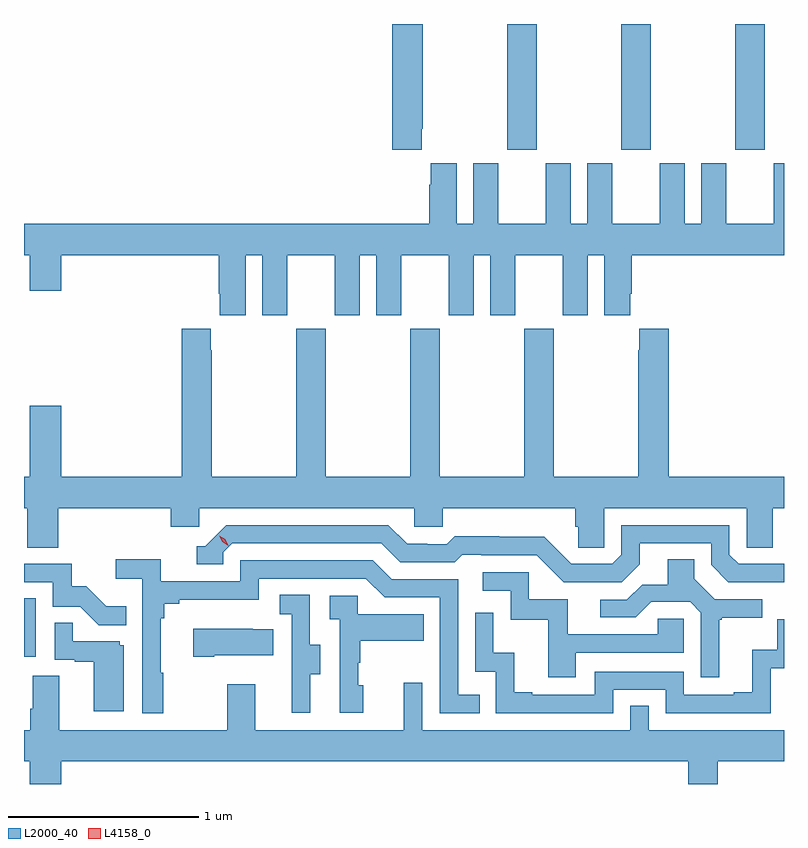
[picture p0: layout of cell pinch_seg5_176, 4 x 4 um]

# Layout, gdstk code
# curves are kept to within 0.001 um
import gdstk
lib = gdstk.Library(unit=1e-6, precision=1e-09)
def R(c, l, rs):  # rectangles x0, y0, x1, y1
    for r in rs: c.add(gdstk.rectangle(r[:2], r[2:], *l))
def A(c, l, x, y, w, h, nx, ny, dx, dy):  # array of equal rectangles
    R(c, l, [(x+i*dx, y+j*dy, x+i*dx+w, y+j*dy+h) for i in range(nx) for j in range(ny)])
def P(c, l, *ps):  # polygons
    for p in ps: c.add(gdstk.Polygon(p, *l))
L2000_40 = (2000, 40)
L4158_0 = (4158, 0)

pinch_seg5_176 = lib.new_cell('pinch_seg5_176')
A(pinch_seg5_176, L2000_40, 1144.543, 891.945, 0.155, 0.663, 3, 1, 0.6, 0)
R(pinch_seg5_176, L2000_40, [(1141.999,889.278,1142.062,889.585)])
P(pinch_seg5_176, L2000_40, [(1144.093,892.057),(1144.098,892.057),(1144.098,892.608),(1143.938,892.608),(1143.938,891.945),(1144.093,891.945)],
  [(1143.166,891.392),(1143.254,891.392),(1143.254,891.075),(1143.385,891.075),(1143.385,891.392),(1143.635,891.392),(1143.635,891.075),(1143.766,891.075),(1143.766,891.392),(1143.854,891.392),(1143.854,891.075),(1143.985,891.075),(1143.985,891.392),(1144.235,891.392),(1144.235,891.075),(1144.366,891.075),(1144.366,891.392),(1144.454,891.392),(1144.454,891.075),(1144.585,891.075),(1144.585,891.392),(1144.835,891.392),(1144.835,891.075),(1144.966,891.075),(1144.966,891.392),(1145.054,891.392),(1145.054,891.075),(1145.191,891.075),(1145.191,891.187),(1145.198,891.187),(1145.198,891.392),(1145.999,891.392),(1145.999,891.874),(1145.945,891.874),(1145.945,891.556),(1145.695,891.556),(1145.695,891.874),(1145.564,891.874),(1145.564,891.556),(1145.476,891.556),(1145.476,891.874),(1145.345,891.874),(1145.345,891.556),(1145.095,891.556),(1145.095,891.874),(1144.964,891.874),(1144.964,891.556),(1144.876,891.556),(1144.876,891.874),(1144.745,891.874),(1144.745,891.556),(1144.495,891.556),(1144.495,891.874),(1144.364,891.874),(1144.364,891.556),(1144.276,891.556),(1144.276,891.874),(1144.139,891.874),(1144.139,891.761),(1144.133,891.761),(1144.133,891.556),(1141.999,891.556),(1141.999,891.392),(1142.03,891.392),(1142.03,891.204),(1142.194,891.204),(1142.194,891.392),(1143.023,891.392),(1143.023,891.187),(1143.029,891.187),(1143.029,891.075),(1143.166,891.075)],
  [(1142.18,890.06),(1142.771,890.06),(1142.771,889.962),(1142.922,889.962),(1142.922,890.06),(1144.053,890.06),(1144.053,889.962),(1144.203,889.962),(1144.203,890.06),(1144.901,890.06),(1144.901,889.962),(1144.915,889.962),(1144.915,889.852),(1145.052,889.852),(1145.052,890.06),(1145.802,890.06),(1145.802,889.852),(1145.941,889.852),(1145.941,890.06),(1145.999,890.06),(1145.999,890.224),(1145.393,890.224),(1145.393,891.004),(1145.237,891.004),(1145.237,890.891),(1145.233,890.891),(1145.233,890.224),(1144.788,890.224),(1144.788,891.004),(1144.633,891.004),(1144.633,890.224),(1144.188,890.224),(1144.188,891.004),(1144.033,891.004),(1144.033,890.224),(1143.588,890.224),(1143.588,891.004),(1143.433,891.004),(1143.433,890.224),(1142.988,890.224),(1142.988,890.891),(1142.983,890.891),(1142.983,891.004),(1142.828,891.004),(1142.828,890.224),(1142.194,890.224),(1142.194,890.599),(1142.03,890.599),(1142.03,890.224),(1141.999,890.224),(1141.999,890.06),(1142.015,890.06),(1142.015,889.852),(1142.18,889.852)],
  [(1145.999,889.767),(1145.76,889.767),(1145.712,889.815),(1145.712,889.971),(1145.142,889.971),(1145.142,889.815),(1145.094,889.767),(1144.878,889.767),(1144.736,889.909),(1144.5,889.909),(1144.5,889.912),(1144.267,889.912),(1144.225,889.869),(1144.122,889.869),(1144.122,889.872),(1144.015,889.872),(1143.916,889.971),(1143.063,889.971),(1142.952,889.86),(1142.909,889.86),(1142.909,889.764),(1143.048,889.764),(1143.048,889.827),(1143.096,889.875),(1143.879,889.875),(1143.978,889.776),(1144.267,889.776),(1144.306,889.815),(1144.405,889.815),(1144.405,889.812),(1144.698,889.812),(1144.839,889.671),(1145.145,889.671),(1145.239,889.765),(1145.239,889.875),(1145.616,889.875),(1145.616,889.761),(1145.706,889.671),(1145.999,889.67)],
  [(1145.659,889.473),(1145.671,889.473),(1145.671,889.484),(1145.884,889.484),(1145.884,889.581),(1145.634,889.581),(1145.527,889.688),(1145.527,889.79),(1145.387,889.79),(1145.387,889.658),(1145.252,889.658),(1145.172,889.578),(1145.031,889.578),(1145.031,889.485),(1145.218,889.485),(1145.299,889.566),(1145.505,889.566),(1145.562,889.509),(1145.562,889.17),(1145.659,889.17)],
  [(1142.731,889.193),(1142.719,889.193),(1142.719,889.481),(1142.738,889.481),(1142.738,889.558),(1142.815,889.558),(1142.815,889.577),(1143.234,889.577),(1143.234,889.689),(1143.798,889.689),(1143.897,889.59),(1144.188,889.59),(1144.188,888.981),(1144.397,888.981),(1144.397,889.077),(1144.284,889.077),(1144.284,889.686),(1143.934,889.686),(1143.835,889.785),(1143.138,889.785),(1143.138,889.674),(1142.72,889.674),(1142.72,889.79),(1142.481,889.79),(1142.481,889.688),(1142.622,889.688),(1142.622,888.981),(1142.731,888.981)],
  [(1142.537,889.543),(1142.433,889.543),(1142.326,889.65),(1142.25,889.65),(1142.25,889.767),(1141.999,889.767),(1141.999,889.671),(1142.151,889.671),(1142.151,889.542),(1142.295,889.542),(1142.393,889.444),(1142.537,889.444)],
  [(1144.903,889.299),(1145.472,889.299),(1145.472,889.479),(1145.335,889.479),(1145.335,889.395),(1144.861,889.395),(1144.861,889.581),(1144.656,889.581),(1144.656,889.722),(1144.413,889.722),(1144.413,889.626),(1144.56,889.626),(1144.56,889.473),(1144.759,889.473),(1144.759,889.17),(1144.903,889.17)],
  [(1143.505,889.186),(1143.559,889.186),(1143.559,889.341),(1143.504,889.341),(1143.504,889.604),(1143.345,889.604),(1143.345,889.501),(1143.408,889.501),(1143.408,889.197),(1143.407,889.197),(1143.407,888.984),(1143.505,888.984)],
  [(1143.784,889.128),(1143.759,889.128),(1143.759,889.247),(1143.769,889.247),(1143.769,889.361),(1144.103,889.361),(1144.103,889.501),(1143.756,889.501),(1143.756,889.599),(1143.609,889.599),(1143.609,889.475),(1143.66,889.475),(1143.66,888.984),(1143.784,888.984)],
  [(1145.1,889.104),(1145.376,889.104),(1145.376,888.981),(1145.928,888.981),(1145.928,889.217),(1145.999,889.217),(1145.999,889.476),(1145.964,889.476),(1145.964,889.315),(1145.831,889.315),(1145.831,889.09),(1145.735,889.09),(1145.735,889.077),(1145.472,889.077),(1145.472,889.2),(1145.004,889.2),(1145.004,889.077),(1144.675,889.077),(1144.675,889.09),(1144.58,889.09),(1144.58,889.298),(1144.47,889.298),(1144.47,889.51),(1144.374,889.51),(1144.374,889.2),(1144.482,889.2),(1144.482,888.981),(1145.1,888.981)],
  [(1142.524,889.338),(1142.502,889.338),(1142.502,889.359),(1142.255,889.359),(1142.255,889.457),(1142.16,889.457),(1142.16,889.263),(1142.267,889.263),(1142.267,889.251),(1142.366,889.251),(1142.366,888.99),(1142.524,888.99)],
  [(1143.001,889.286),(1143.311,889.286),(1143.311,889.423),(1143.203,889.423),(1143.203,889.426),(1142.889,889.426),(1142.889,889.279),(1143.001,889.279)],
  [(1142.194,888.728),(1145.495,888.728),(1145.495,888.608),(1145.651,888.608),(1145.651,888.728),(1145.999,888.728),(1145.999,888.892),(1145.286,888.892),(1145.286,889.019),(1145.19,889.019),(1145.19,888.892),(1144.095,888.892),(1144.095,889.141),(1143.998,889.141),(1143.998,888.892),(1143.217,888.892),(1143.217,889.132),(1143.07,889.132),(1143.07,888.892),(1142.185,888.892),(1142.185,889.178),(1142.045,889.178),(1142.045,889.004),(1142.033,889.004),(1142.033,888.892),(1141.999,888.892),(1141.999,888.728),(1142.03,888.728),(1142.03,888.608),(1142.194,888.608)])
P(pinch_seg5_176, L4158_0, [(1143.073,889.863),(1143.043,889.882),(1143.027,889.915),(1143.027,889.915),(1143.027,889.915),(1143.058,889.896),(1143.074,889.863),(1143.074,889.863)])

lib.write_gds('pinch_seg5_176.gds')
